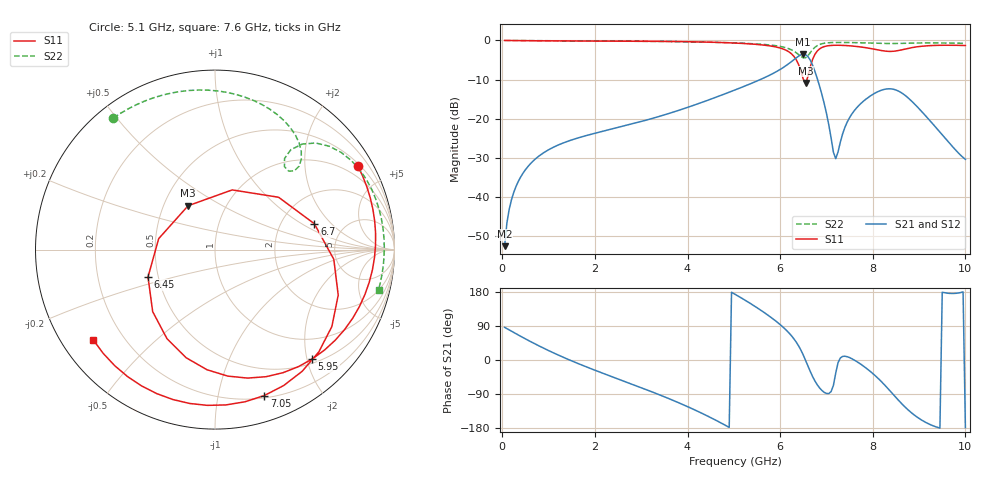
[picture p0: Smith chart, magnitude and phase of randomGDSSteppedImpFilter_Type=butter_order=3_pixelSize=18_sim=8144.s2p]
! freq	dB(S11)	phase(S11)	dB(S12)	phase(S12)
!  dB(S21)	phase(S21)	dB(S22)	phase(S22)
!S-par simulation data
#  GHz  S  DB  R 50
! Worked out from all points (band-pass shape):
!   200 points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, 50 MHz to 10 GHz, reference 50 ohm
!   highest |S21| = -3.50 dB at 6.5 GHz (marker M1); lowest = -52.5 dB at 50 MHz (marker M2)
!   |S21| within 3 dB of the highest: 6.118 GHz to 6.706 GHz (588.6 MHz wide, 9.18 % of centre)
!   lowest |S11| = -10.9 dB at 6.55 GHz (marker M3), VSWR 1.80, Z = 33.2 + j17.7 ohm
!   |S11| at or under -10 dB: 6.505 GHz to 6.576 GHz (71.16 MHz wide, 1.09 % of centre)
!   |S22| runs from -4.4 to 0.0 dB; largest |S21 - S12| = 0
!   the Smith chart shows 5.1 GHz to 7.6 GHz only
!   S11 on the Smith chart (normalised r, x): 5.1 GHz: 0.58, +3.61; 5.95 GHz: 0.58, -2.09; 6.45 GHz: 0.44, -0.16; 6.7 GHz: 3.06, +1.31; 7.05 GHz: 0.22, -1.37; 7.6 GHz: 0.09, -0.33
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0.05  -0.00 -4.9  -52.52 86.1  -52.52 86.1  -0.00 -2.1
0.3  -0.04 -28.9  -37.17 69.0  -37.17 69.0  -0.02 -12.5
0.85  -0.10 -77.1  -29.01 33.7  -29.01 33.7  -0.05 -35.2
1.75  -0.14 -138.7  -24.49 -15.0  -24.49 -15.0  -0.11 -72.3
3.4  -0.24 135.4  -19.35 -92.1  -19.35 -92.1  -0.25 -142.9
4.3  -0.39 85.2  -15.86 -140.0  -15.86 -140.0  -0.40 173.1
5.05  -0.68 34.1  -12.52 171.8  -12.52 171.8  -0.64 130.7
5.1  -0.70 30.3  -12.29 168.2  -12.29 168.2  -0.67 127.7
5.95  -1.77 -48.4  -7.75 98.5  -7.75 98.5  -1.42 72.1
6.25  -3.47 -93.8  -5.35 63.1  -5.35 63.1  -2.43 51.6
6.45  -7.89 -157.8  -3.66 25.6  -3.66 25.6  -4.10 44.8
6.5  -9.91 169.0  -3.50 12.9  -3.50 12.9  -4.44 46.8
6.55  -10.85 121.5  -3.62 -1.0  -3.62 -1.0  -4.40 50.1
6.7  -4.85 14.6  -6.31 -43.4  -6.31 -43.4  -2.35 50.4
7.05  -1.33 -71.3  -21.51 -88.5  -21.51 -88.5  -0.58 21.0
7.2  -1.22 -92.8  -30.17 -34.6  -30.17 -34.6  -0.51 10.4
7.6  -1.47 -143.6  -17.94 -0.1  -17.94 -0.1  -0.55 -13.8
8  -2.16 155.2  -13.78 -35.6  -13.78 -35.6  -0.69 -34.1
8.35  -2.79 75.1  -12.34 -78.3  -12.34 -78.3  -0.78 -49.3
8.65  -2.33 -3.5  -13.60 -118.4  -13.60 -118.4  -0.73 -61.1
9.05  -1.49 -77.2  -18.06 -158.2  -18.06 -158.2  -0.64 -76.8
10  -1.29 -169.0  -30.35 -178.4  -30.35 -178.4  -0.73 -111.2
